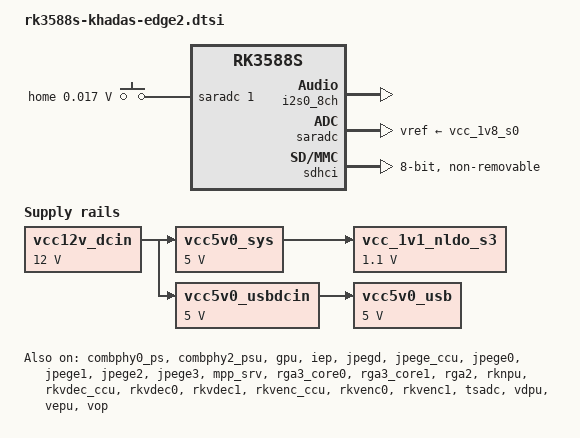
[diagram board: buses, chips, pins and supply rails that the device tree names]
// SPDX-License-Identifier: (GPL-2.0+ OR MIT)
/*
 * Copyright (c) 2023 Wesion Technology Co., Ltd.
 *
 */

#include <dt-bindings/gpio/gpio.h>
#include <dt-bindings/pwm/pwm.h>
#include <dt-bindings/pinctrl/rockchip.h>
#include <dt-bindings/input/rk-input.h>
#include <dt-bindings/display/rockchip_vop.h>
#include <dt-bindings/sensor-dev.h>

/ {
	adc_keys: adc-keys {
		compatible = "adc-keys";
		io-channels = <&saradc 1>;
		io-channel-names = "buttons";
		keyup-threshold-microvolt = <1800000>;
		poll-interval = <100>;

		home-key {
			label = "home";
			linux,code = <KEY_HOMEPAGE>;
			press-threshold-microvolt = <17000>;
		};
	};

	dp0_sound: dp0-sound {
		status = "disabled";
		compatible = "rockchip,hdmi";
		rockchip,card-name = "rockchip-dp0";
		rockchip,mclk-fs = <512>;
		rockchip,cpu = <&spdif_tx2>;
		rockchip,codec = <&dp0 1>;
		rockchip,jack-det;
	};

	hdmi0_sound: hdmi0-sound {
		status = "okay";
		compatible = "simple-audio-card";
		simple-audio-card,format = "i2s";
		simple-audio-card,mclk-fs = <128>;
		simple-audio-card,name = "rockchip-hdmi0";

		simple-audio-card,cpu {
			sound-dai = <&i2s5_8ch>;
		};
		simple-audio-card,codec {
			sound-dai = <&hdmi0>;
		};
	};

	spdif_tx1_dc: spdif-tx1-dc {
		status = "disabled";
		compatible = "linux,spdif-dit";
		#sound-dai-cells = <0>;
	};

	spdif_tx1_sound: spdif-tx1-sound {
		status = "disabled";
		compatible = "simple-audio-card";
		simple-audio-card,name = "rockchip,spdif-tx1";
		simple-audio-card,cpu {
			sound-dai = <&spdif_tx1>;
		};
		simple-audio-card,codec {
			sound-dai = <&spdif_tx1_dc>;
		};
	};

	test-power {
		status = "okay";
	};

	vcc12v_dcin: vcc12v-dcin {
		compatible = "regulator-fixed";
		regulator-name = "vcc12v_dcin";
		regulator-always-on;
		regulator-boot-on;
		regulator-min-microvolt = <12000000>;
		regulator-max-microvolt = <12000000>;
	};

	vcc5v0_sys: vcc5v0-sys {
		compatible = "regulator-fixed";
		regulator-name = "vcc5v0_sys";
		regulator-always-on;
		regulator-boot-on;
		regulator-min-microvolt = <5000000>;
		regulator-max-microvolt = <5000000>;
		vin-supply = <&vcc12v_dcin>;
	};

	vcc_1v1_nldo_s3: vcc-1v1-nldo-s3 {
        compatible = "regulator-fixed";
        regulator-name = "vcc_1v1_nldo_s3";
        regulator-always-on;
        regulator-boot-on;
        regulator-min-microvolt = <1100000>;
        regulator-max-microvolt = <1100000>;
        vin-supply = <&vcc5v0_sys>;
    };

	vcc5v0_usbdcin: vcc5v0-usbdcin {
		compatible = "regulator-fixed";
		regulator-name = "vcc5v0_usbdcin";
		regulator-always-on;
		regulator-boot-on;
		regulator-min-microvolt = <5000000>;
		regulator-max-microvolt = <5000000>;
		vin-supply = <&vcc12v_dcin>;
	};

	vcc5v0_usb: vcc5v0-usb {
		compatible = "regulator-fixed";
		regulator-name = "vcc5v0_usb";
		regulator-always-on;
		regulator-boot-on;
		regulator-min-microvolt = <5000000>;
		regulator-max-microvolt = <5000000>;
		vin-supply = <&vcc5v0_usbdcin>;
	};
};

&av1d_mmu {
	status = "okay";
};

&combphy0_ps {
	status = "okay";
};

&combphy2_psu {
	status = "okay";
};

&cpu_l0 {
	cpu-supply = <&vdd_cpu_lit_s0>;
	mem-supply = <&vdd_cpu_lit_mem_s0>;
};

&cpu_b0 {
	cpu-supply = <&vdd_cpu_big0_s0>;
	mem-supply = <&vdd_cpu_big0_mem_s0>;
};

&cpu_b2 {
	cpu-supply = <&vdd_cpu_big1_s0>;
	mem-supply = <&vdd_cpu_big1_mem_s0>;
};

&gpu {
	mali-supply = <&vdd_gpu_s0>;
	mem-supply = <&vdd_gpu_mem_s0>;
	status = "okay";
};

&i2s0_8ch {
	status = "okay";
	pinctrl-0 = <&i2s0_lrck
		     &i2s0_sclk
		     &i2s0_sdi0
		     &i2s0_sdo0>;
};

&iep {
	status = "okay";
};

&iep_mmu {
	status = "okay";
};

&jpegd {
	status = "okay";
};

&jpegd_mmu {
	status = "okay";
};

&jpege_ccu {
	status = "okay";
};

&jpege0 {
	status = "okay";
};

&jpege0_mmu {
	status = "okay";
};

&jpege1 {
	status = "okay";
};

&jpege1_mmu {
	status = "okay";
};

&jpege2 {
	status = "okay";
};

&jpege2_mmu {
	status = "okay";
};

&jpege3 {
	status = "okay";
};

&jpege3_mmu {
	status = "okay";
};

&mpp_srv {
	status = "okay";
};

&rga3_core0 {
	status = "okay";
};

&rga3_0_mmu {
	status = "okay";
};

&rga3_core1 {
	status = "okay";
};

&rga3_1_mmu {
	status = "okay";
};

&rga2 {
	status = "okay";
};

&rknpu {
	rknpu-supply = <&vdd_npu_s0>;
	mem-supply = <&vdd_npu_mem_s0>;
	status = "okay";
};

&rknpu_mmu {
	status = "okay";
};

&rkvdec_ccu {
	status = "okay";
};

&rkvdec0 {
	status = "okay";
};

&rkvdec0_mmu {
	status = "okay";
};

&rkvdec1 {
	status = "okay";
};

&rkvdec1_mmu {
	status = "okay";
};

&rkvenc_ccu {
	status = "okay";
};

&rkvenc0 {
	status = "okay";
};

&rkvenc0_mmu {
	status = "okay";
};

&rkvenc1 {
	status = "okay";
};

&rkvenc1_mmu {
	status = "okay";
};

&rockchip_suspend {
	status = "okay";
	rockchip,sleep-debug-en = <1>;
};

&saradc {
	status = "okay";
	vref-supply = <&vcc_1v8_s0>;
};

&sdhci {
	bus-width = <8>;
	no-sdio;
	no-sd;
	non-removable;
	max-frequency = <200000000>;
	mmc-hs400-1_8v;
	mmc-hs400-enhanced-strobe;
	status = "okay";
};

&sdmmc {
	max-frequency = <150000000>;
	no-sdio;
	no-mmc;
	bus-width = <4>;
	cap-mmc-highspeed;
	cap-sd-highspeed;
	disable-wp;
	sd-uhs-sdr104;
	vmmc-supply = <&vcc_sd>;
	vqmmc-supply = <&vccio_sd_s0>;
	status = "disabled";
};

&tsadc {
	status = "okay";
};

&vdpu {
	status = "okay";
};

&vdpu_mmu {
	status = "okay";
};

&vepu {
	status = "okay";
};

&vop {
	status = "okay";
};

&vop_mmu {
	status = "okay";
};

/* vp0 & vp1 splice for 8K output */
&vp0 {
	rockchip,plane-mask = <(1 << ROCKCHIP_VOP2_CLUSTER0 | 1 << ROCKCHIP_VOP2_ESMART0)>;
	rockchip,primary-plane = <ROCKCHIP_VOP2_ESMART0>;
};

&vp1 {
	rockchip,plane-mask = <(1 << ROCKCHIP_VOP2_CLUSTER1 | 1 << ROCKCHIP_VOP2_ESMART1)>;
	rockchip,primary-plane = <ROCKCHIP_VOP2_ESMART1>;
};

&vp2 {
	rockchip,plane-mask = <(1 << ROCKCHIP_VOP2_CLUSTER2 | 1 << ROCKCHIP_VOP2_ESMART2)>;
	rockchip,primary-plane = <ROCKCHIP_VOP2_ESMART2>;
};

&vp3 {
	rockchip,plane-mask = <(1 << ROCKCHIP_VOP2_CLUSTER3 | 1 << ROCKCHIP_VOP2_ESMART3)>;
	rockchip,primary-plane = <ROCKCHIP_VOP2_ESMART3>;
};
